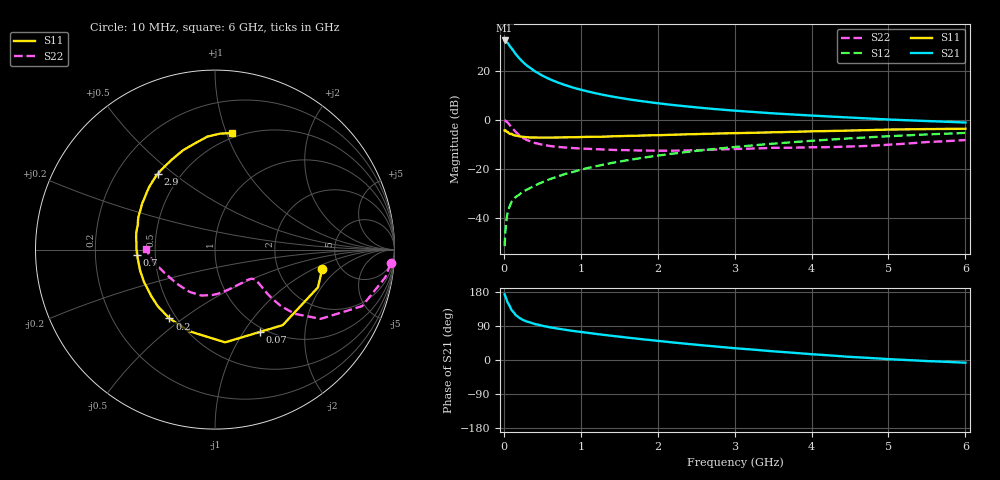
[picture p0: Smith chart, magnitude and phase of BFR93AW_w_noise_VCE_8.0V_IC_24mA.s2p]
! (c) 2017  Infineon Technologies AG, Munich
! Infineon Technologies  Discrete & RF Semiconductors
! BFR93AW
! VCE =  8.0 V,  IC =  24 mA
! Common Emitter S-Parameters:  Jan 2017
# GHz  S  MA  R  50
!  f  S11  S21  S12  S22
! GHz  MAG  ANG  MAG  ANG  MAG  ANG  MAG  ANG
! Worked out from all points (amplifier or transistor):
!   77 points, 10 MHz to 6 GHz, reference 50 ohm
!   highest |S21| = 32.5 dB at 10 MHz (marker M1)
!   |S21| within 3 dB of that: start of sweep to 95.31 MHz
!   unconditionally stable (mu >= 1): 663.8 MHz to 2.046 GHz
!   at 130 MHz: K = 0.47, MSG = 30.2 dB, |S12| = -32.4 dB
!   at 2.2 GHz: K = 0.99, MSG = 9.9 dB, |S12| = -13.8 dB
!   at 6 GHz: K = 0.86, MSG = 2.1 dB, |S12| = -5.4 dB
!   lowest NFmin = 1.63 dB at 450 MHz
!   S11 on the Smith chart (normalised r, x): 10 MHz: 3.64, -1.24; 70 MHz: 0.94, -1.19; 200 MHz: 0.46, -0.45; 700 MHz: 0.39, -0.03; 2.9 GHz: 0.38, +0.44; 6 GHz: 0.46, +1.04
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0.01  0.6073 -10.2  41.99 173.3  0.0026 80.9  0.981 -4.5
0.02  0.6108 -20.2  41.79 167.7  0.0052 85.5  0.9619 -9.2
0.05  0.5653 -48.1  37.37 151.4  0.013 71.5  0.8787 -21.0
0.07  0.5223 -61.5  33.62 144.7  0.0161 66.2  0.8043 -25.3
0.1  0.5198 -83.8  29.11 131.8  0.021 61.2  0.7032 -33.3
0.15  0.4769 -107.4  22.64 119.6  0.026 57.3  0.5716 -38.8
0.2  0.4599 -123.5  18.17 111.5  0.0294 57.4  0.4837 -40.6
0.25  0.4485 -135.1  15.11 105.6  0.0341 57.8  0.4263 -40.6
0.3  0.4398 -143.7  12.83 101.4  0.0372 59.5  0.3852 -40.2
0.4  0.4348 -155.6  9.9 95.0  0.0448 62.8  0.3367 -38.7
0.5  0.4333 -164.2  8.003 90.3  0.0528 64.8  0.3089 -37.6
0.6  0.4323 -170.8  6.739 86.3  0.0613 66.2  0.2911 -37.0
0.7  0.4348 -176.1  5.808 82.9  0.0692 68.0  0.2788 -36.8
0.9  0.4392 175.2  4.554 76.7  0.0861 69.1  0.2641 -38.0
1.1  0.4482 168.2  3.773 71.5  0.104 68.9  0.2546 -40.4
1.5  0.4641 156.8  2.821 61.6  0.139 68.1  0.2404 -48.0
2.1  0.4893 142.6  2.093 48.4  0.1941 64.7  0.2333 -65.1
2.9  0.5289 126.9  1.584 33.0  0.2681 58.4  0.25 -90.1
3.1  0.5368 123.1  1.5 29.6  0.2867 56.6  0.2548 -95.8
4.1  0.5848 106.4  1.199 14.0  0.381 46.8  0.2749 -124.4
5.1  0.6338 92.5  0.999 1.3  0.4692 35.8  0.3159 -158.1
6  0.6561 81.8  0.88 -7.1  0.539 25.6  0.3849 179.9
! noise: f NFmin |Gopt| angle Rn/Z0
0.45  1.63  0.16  169  0.16
0.9  1.9  0.24  180  0.16
1.9  2.91  0.49  -137  0.25
2.4  3.56  0.55  -125  0.49
